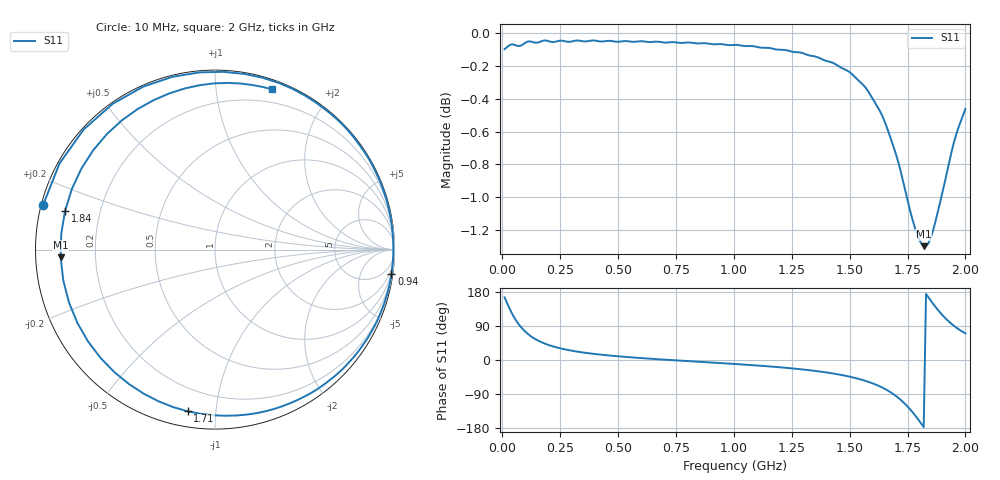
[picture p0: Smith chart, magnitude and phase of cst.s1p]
! H_s8_cap_20: PDN loop: BGA pin field to a 0402 capacitor 20 mm away
! stackup: 8-layer 1.6 mm FR-4 (generic)
! ports: 1 IC pins
! CST Studio Suite 2025.5 Release from 2025-05-30, time domain (FIT, hexahedral, PBA), 113400 mesh cells, 139 s
! mesh: {'lpw': 20, 'lpb': 20, 'minstep': 0.0, 'ratio': 20}; ports: port 1 (edge)
! interpolated from CST's 1001 samples to the case grid
# Hz S RI R 1
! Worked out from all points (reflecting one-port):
!   200 points, 10 MHz to 2 GHz, reference 1 ohm
!   lowest |S11| = -1.3 dB at 1.82 GHz (marker M1), VSWR 13.39, Z = 0.0747 - j0.0249 ohm
!   phase of S11 starts at 165 deg and turns -455 deg over the sweep
!   S11 on the Smith chart (normalised r, x): 10 MHz: 0.01, +0.13; 940 MHz: 1, -14; 1.71 GHz: 0.08, -0.84; 1.84 GHz: 0.07, +0.13; 2 GHz: 0.08, +1.42
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1e7  -0.9566 0.251
3e7  -0.7314 0.6697
4e7  -0.5704 0.812
5e7  -0.4013 0.9074
7e7  -0.088 0.9872
1e8  0.2663 0.9572
1.4e8  0.5543 0.8246
1.9e8  0.7427 0.6621
2.6e8  0.8669 0.4882
3.6e8  0.941 0.3214
5.1e8  0.9814 0.16
7.6e8  0.9932 -0.0233
9.4e8  0.9829 -0.1381
1.01e9  0.9747 -0.1843
1.26e9  0.9111 -0.3796
1.41e9  0.8151 -0.5447
1.51e9  0.6831 -0.6912
1.62e9  0.3755 -0.8725
1.67e9  0.1226 -0.924
1.71e9  -0.153 -0.9006
1.76e9  -0.5594 -0.6838
1.79e9  -0.7663 -0.4096
1.82e9  -0.86 -0.0432
1.84e9  -0.8357 0.2141
1.88e9  -0.6023 0.6437
1.91e9  -0.3428 0.8323
1.95e9  -0.00619 0.926
2e9  0.3187 0.8931
